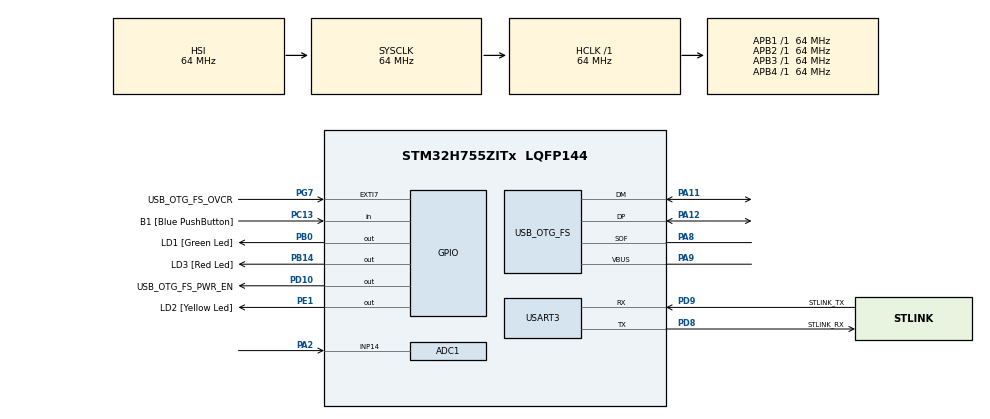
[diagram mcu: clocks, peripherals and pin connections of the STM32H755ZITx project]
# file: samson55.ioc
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ADC1.Channel-0\#ChannelRegularConversion=ADC_CHANNEL_14
ADC1.ContinuousConvMode=ENABLE
ADC1.NbrOfConversionFlag=1
ADC1.OffsetNumber-0\#ChannelRegularConversion=ADC_OFFSET_NONE
ADC1.OffsetSignedSaturation-0\#ChannelRegularConversion=DISABLE
ADC1.Rank-0\#ChannelRegularConversion=1
ADC1.SamplingTime-0\#ChannelRegularConversion=ADC_SAMPLETIME_387CYCLES_5
ADC1.master=1
CortexM4.IPs=FATFS_M4\:I,FREERTOS_M4\:I,IWDG2\:I,RCC,WWDG2\:I,DMA,BDMA,MDMA,NVIC2\:I,DEBUG,USB_DEVICE_M4\:I,USB_HOST_M4\:I,PDM2PCM_M4\:I,PWR,RESMGR_UTILITY,SYS_M4\:I,CORTEX_M4\:I,OPENAMP_M4\:I,VREFBUF
CortexM7.IPs=FATFS_M7\:I,FREERTOS_M7\:I,IWDG1\:I,RCC\:I,WWDG1\:I,DMA\:I,BDMA\:I,MDMA\:I,NVIC1\:I,USART3\:I,USB_OTG_FS\:I,SYS\:I,CORTEX_M7\:I,DEBUG\:I,USB_DEVICE_M7\:I,USB_HOST_M7\:I,PDM2PCM_M7\:I,PWR\:I,RESMGR_UTILITY\:I,OPENAMP_M7\:I,VREFBUF\:I,ADC1\:I
CortexM7.Pins=PB0
Mcu.Family=STM32H7
Mcu.Name=STM32H755ZITx
Mcu.Package=LQFP144
NVIC1.ADC_IRQn=true\:0\:0\:false\:false\:true\:true\:true
NVIC1.PriorityGroup=NVIC_PRIORITYGROUP_4
NVIC2.PriorityGroup=NVIC_PRIORITYGROUP_4
PA11.Mode=Device_Only
PA11.PinAttribute=CortexM7
PA11.Signal=USB_OTG_FS_DM
PA12.Mode=Device_Only
PA12.PinAttribute=CortexM7
PA12.Signal=USB_OTG_FS_DP
PA13\ (JTMS/SWDIO).Mode=Serial_Wire
PA13\ (JTMS/SWDIO).PinAttribute=CortexM7
PA13\ (JTMS/SWDIO).Signal=DEBUG_JTMS-SWDIO
PA14\ (JTCK/SWCLK).Mode=Serial_Wire
PA14\ (JTCK/SWCLK).PinAttribute=CortexM7
PA14\ (JTCK/SWCLK).Signal=DEBUG_JTCK-SWCLK
PA2.PinAttribute=CortexM7
PA2.Signal=ADCx_INP14
PA8.Mode=Activate_SOF_FS
PA8.PinAttribute=CortexM7
PA8.Signal=USB_OTG_FS_SOF
PA9.Mode=Activate_VBUS
PA9.PinAttribute=CortexM7
PA9.Signal=USB_OTG_FS_VBUS
PB0.GPIO_Label=LD1 [Green Led]
PB0.PinAttribute=CortexM7
PB0.Signal=GPIO_Output
PB14.GPIO_Label=LD3 [Red Led]
PB14.PinAttribute=Free
PB14.Signal=GPIO_Output
PC13.GPIO_Label=B1 [Blue PushButton]
PC13.PinAttribute=Free
PC13.Signal=GPIO_Input
PC14-OSC32_IN\ (OSC32_IN).Mode=LSE-External-Oscillator
PC14-OSC32_IN\ (OSC32_IN).PinAttribute=CortexM7
PC14-OSC32_IN\ (OSC32_IN).Signal=RCC_OSC32_IN
PC15-OSC32_OUT\ (OSC32_OUT).Mode=LSE-External-Oscillator
PC15-OSC32_OUT\ (OSC32_OUT).PinAttribute=CortexM7
PC15-OSC32_OUT\ (OSC32_OUT).Signal=RCC_OSC32_OUT
PD10.GPIO_Label=USB_OTG_FS_PWR_EN
PD10.PinAttribute=Free
PD10.Signal=GPIO_Output
PD8.GPIO_Label=STLINK_RX
PD8.Mode=Asynchronous
PD8.PinAttribute=CortexM7
PD8.Signal=USART3_TX
PD9.GPIO_Label=STLINK_TX
PD9.Mode=Asynchronous
PD9.PinAttribute=CortexM7
PD9.Signal=USART3_RX
PE1.GPIO_Label=LD2 [Yellow Led]
PE1.PinAttribute=Free
PE1.Signal=GPIO_Output
PG7.GPIO_Label=USB_OTG_FS_OVCR
PG7.PinAttribute=Free
PG7.Signal=GPXTI7
PH0-OSC_IN\ (PH0).Mode=HSE-External-Clock-Source
PH0-OSC_IN\ (PH0).PinAttribute=CortexM7
PH0-OSC_IN\ (PH0).Signal=RCC_OSC_IN
PH1-OSC_OUT\ (PH1).PinAttribute=CortexM7
PH1-OSC_OUT\ (PH1).Signal=RCC_OSC_OUT
ProjectManager.HeapSize=0x200
ProjectManager.StackSize=0x400
ProjectManager.TargetToolchain=STM32CubeIDE
RCC.ADCFreq_Value=50666666.666666664
RCC.APB1Freq_Value=64000000
RCC.APB2Freq_Value=64000000
RCC.APB3Freq_Value=64000000
RCC.APB4Freq_Value=64000000
RCC.CortexFreq_Value=64000000
RCC.DIVM1=1
RCC.DIVM2=1
RCC.DIVN1=24
RCC.DIVN2=19
RCC.DIVP2=3
RCC.DIVQ1=4
RCC.HCLKFreq_Value=64000000
RCC.HSE_VALUE=8000000
RCC.PLL2FRACN=0
RCC.PLL3FRACN=0
RCC.PLLFRACN=0
RCC.SYSCLKFreq_VALUE=64000000
RCC.SupplySource=PWR_DIRECT_SMPS_SUPPLY
RCC.USBFreq_Value=48000000
SH.ADCx_INP14.0=ADC1_INP14,IN14-Single-Ended
USART3.VirtualMode-Asynchronous=VM_ASYNC
USB_OTG_FS.VirtualMode=Device_Only
VP_SYS_M4_VS_Systick.Mode=SysTick
board=NUCLEO-H755ZI-Q

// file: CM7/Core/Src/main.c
/* USER CODE BEGIN Header */
/**
  ******************************************************************************
  * @file           : main.c
  * @brief          : Main program body
  ******************************************************************************
  * @attention
  *
  * <h2><center>&copy; Copyright (c) 2025 STMicroelectronics.
  * All rights reserved.</center></h2>
  *
  * This software component is licensed by ST under BSD 3-Clause license,
  * the "License"; You may not use this file except in compliance with the
  * License. You may obtain a copy of the License at:
  *                        opensource.org/licenses/BSD-3-Clause
  *
  ******************************************************************************
  */
/* USER CODE END Header */
#include "main.h"

/* USER CODE BEGIN Includes */
#include <stdio.h>

/* USER CODE END Includes */

/* USER CODE BEGIN PD */

#define HSEM_ID_0 (0U) /* HW semaphore 0*/
/* USER CODE END PD */

ADC_HandleTypeDef hadc1;

UART_HandleTypeDef huart3;

PCD_HandleTypeDef hpcd_USB_OTG_FS;

/* USER CODE BEGIN PV */
volatile uint32_t adc_value = 0;
volatile uint8_t adc_flag = 0;

/* USER CODE END PV */

void SystemClock_Config(void);
static void MX_GPIO_Init(void);
static void MX_USART3_UART_Init(void);
static void MX_USB_OTG_FS_PCD_Init(void);
static void MX_ADC1_Init(void);

/* USER CODE BEGIN 0 */
int _write(int file, char *ptr, int len) {
    HAL_UART_Transmit(&huart3 , ptr , len , 50);
    return len;
}

int __io_putchar(int ch)
{
	HAL_UART_Transmit(&huart3, (uint8_t*)&ch, 1, 1000);
	return ch;
}

//void HAL_ADC_ConvCpltCallback(ADC_HandleTypeDef* hadc){
//	printf("in ADC_ConvCpltCallback\n\r");
//    if(hadc->Instance == ADC1){
//    	printf("instance==ADC1\r\n");
//        adc_value = HAL_ADC_GetValue(hadc);
//        adc_flag = 1;
//    }
//}

void process_adc(void);
uint8_t calculate_crc8(uint8_t *data, uint8_t len);
uint16_t CRC16(const uint8_t *data, uint16_t length);
void send_adc_value(uint16_t value);

/* USER CODE END 0 */

int main(void)
{

/* USER CODE BEGIN Boot_Mode_Sequence_0 */
  int32_t timeout;
/* USER CODE END Boot_Mode_Sequence_0 */

/* USER CODE BEGIN Boot_Mode_Sequence_1 */
  /* Wait until CPU2 boots and enters in stop mode or timeout*/
  timeout = 0xFFFF;
  while((__HAL_RCC_GET_FLAG(RCC_FLAG_D2CKRDY) != RESET) && (timeout-- > 0));
  if ( timeout < 0 )
  {
  Error_Handler();
  }
/* USER CODE END Boot_Mode_Sequence_1 */
  /* MCU Configuration--------------------------------------------------------*/

  /* Reset of all peripherals, Initializes the Flash interface and the Systick. */
  HAL_Init();

  /* Configure the system clock */
  SystemClock_Config();
/* USER CODE BEGIN Boot_Mode_Sequence_2 */
/* When system initialization is finished, Cortex-M7 will release Cortex-M4 by means of
HSEM notification */
/*HW semaphore Clock enable*/
__HAL_RCC_HSEM_CLK_ENABLE();
/*Take HSEM */
HAL_HSEM_FastTake(HSEM_ID_0);
/*Release HSEM in order to notify the CPU2(CM4)*/
HAL_HSEM_Release(HSEM_ID_0,0);
/* wait until CPU2 wakes up from stop mode */
timeout = 0xFFFF;
while((__HAL_RCC_GET_FLAG(RCC_FLAG_D2CKRDY) == RESET) && (timeout-- > 0));
if ( timeout < 0 )
{
Error_Handler();
}
/* USER CODE END Boot_Mode_Sequence_2 */

  /* Initialize all configured peripherals */
  MX_GPIO_Init();
  MX_USART3_UART_Init();
  MX_USB_OTG_FS_PCD_Init();
  MX_ADC1_Init();
  /* USER CODE BEGIN 2 */
//  HAL_ADCEx_Calibration_Start(&hadc1, ADC_CALIB_OFFSET, ADC_SINGLE_ENDED);
//  HAL_Delay(1000);
//  if(HAL_ADC_Start_IT(&hadc1) != HAL_OK){
//	  printf("hal_adc_start_it NOTOK\n\r");
//  }
//  printf("in main\n\r");

//  HAL_ADC_Start(&hadc1);
  if (HAL_ADC_Start_IT(&hadc1) != HAL_OK) {
      Error_Handler();
  }

  /* USER CODE END 2 */

  /* Infinite loop */
  /* USER CODE BEGIN WHILE */
  while (1)
  {
	  HAL_GPIO_TogglePin(LD1_GPIO_Port, LD1_Pin);
	  if(adc_flag==1){
		  printf("Zmierzono: %ld\n\r", adc_value);
		  process_adc();
		  adc_flag=0;
//		  HAL_ADC_Start_IT(&hadc1);
	  }
	  HAL_Delay(1000);

//	  if (HAL_ADC_PollForConversion(&hadc1, HAL_MAX_DELAY) == HAL_OK) {
//		  uint16_t adc_value = HAL_ADC_GetValue(&hadc1);
//		  send_adc_value(adc_value);
////		  HAL_Delay(10);
//	  }

    /* USER CODE END WHILE */

  }
}

void SystemClock_Config(void)
{
  RCC_OscInitTypeDef RCC_OscInitStruct = {0};
  RCC_ClkInitTypeDef RCC_ClkInitStruct = {0};
  RCC_PeriphCLKInitTypeDef PeriphClkInitStruct = {0};

  /** Supply configuration update enable
  */
  HAL_PWREx_ConfigSupply(PWR_DIRECT_SMPS_SUPPLY);
  /** Configure the main internal regulator output voltage
  */
  __HAL_PWR_VOLTAGESCALING_CONFIG(PWR_REGULATOR_VOLTAGE_SCALE3);

  while(!__HAL_PWR_GET_FLAG(PWR_FLAG_VOSRDY)) {}
  /** Macro to configure the PLL clock source
  */
  __HAL_RCC_PLL_PLLSOURCE_CONFIG(RCC_PLLSOURCE_HSE);
  /** Initializes the RCC Oscillators according to the specified parameters
  * in the RCC_OscInitTypeDef structure.
  */
  RCC_OscInitStruct.OscillatorType = RCC_OSCILLATORTYPE_HSI|RCC_OSCILLATORTYPE_HSE;
  RCC_OscInitStruct.HSEState = RCC_HSE_BYPASS;
  RCC_OscInitStruct.HSIState = RCC_HSI_DIV1;
  RCC_OscInitStruct.HSICalibrationValue = RCC_HSICALIBRATION_DEFAULT;
  RCC_OscInitStruct.PLL.PLLState = RCC_PLL_ON;
  RCC_OscInitStruct.PLL.PLLSource = RCC_PLLSOURCE_HSE;
  RCC_OscInitStruct.PLL.PLLM = 1;
  RCC_OscInitStruct.PLL.PLLN = 24;
  RCC_OscInitStruct.PLL.PLLP = 2;
  RCC_OscInitStruct.PLL.PLLQ = 4;
  RCC_OscInitStruct.PLL.PLLR = 2;
  RCC_OscInitStruct.PLL.PLLRGE = RCC_PLL1VCIRANGE_3;
  RCC_OscInitStruct.PLL.PLLVCOSEL = RCC_PLL1VCOWIDE;
  RCC_OscInitStruct.PLL.PLLFRACN = 0;
  if (HAL_RCC_OscConfig(&RCC_OscInitStruct) != HAL_OK)
  {
    Error_Handler();
  }
  /** Initializes the CPU, AHB and APB buses clocks
  */
  RCC_ClkInitStruct.ClockType = RCC_CLOCKTYPE_HCLK|RCC_CLOCKTYPE_SYSCLK
                              |RCC_CLOCKTYPE_PCLK1|RCC_CLOCKTYPE_PCLK2
                              |RCC_CLOCKTYPE_D3PCLK1|RCC_CLOCKTYPE_D1PCLK1;
  RCC_ClkInitStruct.SYSCLKSource = RCC_SYSCLKSOURCE_HSI;
  RCC_ClkInitStruct.SYSCLKDivider = RCC_SYSCLK_DIV1;
  RCC_ClkInitStruct.AHBCLKDivider = RCC_HCLK_DIV1;
  RCC_ClkInitStruct.APB3CLKDivider = RCC_APB3_DIV1;
  RCC_ClkInitStruct.APB1CLKDivider = RCC_APB1_DIV1;
  RCC_ClkInitStruct.APB2CLKDivider = RCC_APB2_DIV1;
  RCC_ClkInitStruct.APB4CLKDivider = RCC_APB4_DIV1;

  if (HAL_RCC_ClockConfig(&RCC_ClkInitStruct, FLASH_LATENCY_0) != HAL_OK)
  {
    Error_Handler();
  }
  PeriphClkInitStruct.PeriphClockSelection = RCC_PERIPHCLK_USART3|RCC_PERIPHCLK_ADC
                              |RCC_PERIPHCLK_USB;
  PeriphClkInitStruct.PLL2.PLL2M = 1;
  PeriphClkInitStruct.PLL2.PLL2N = 19;
  PeriphClkInitStruct.PLL2.PLL2P = 3;
  PeriphClkInitStruct.PLL2.PLL2Q = 2;
  PeriphClkInitStruct.PLL2.PLL2R = 2;
  PeriphClkInitStruct.PLL2.PLL2RGE = RCC_PLL2VCIRANGE_3;
  PeriphClkInitStruct.PLL2.PLL2VCOSEL = RCC_PLL2VCOMEDIUM;
  PeriphClkInitStruct.PLL2.PLL2FRACN = 0;
  PeriphClkInitStruct.Usart234578ClockSelection = RCC_USART234578CLKSOURCE_D2PCLK1;
  PeriphClkInitStruct.UsbClockSelection = RCC_USBCLKSOURCE_PLL;
  PeriphClkInitStruct.AdcClockSelection = RCC_ADCCLKSOURCE_PLL2;
  if (HAL_RCCEx_PeriphCLKConfig(&PeriphClkInitStruct) != HAL_OK)
  {
    Error_Handler();
  }
  /** Enable USB Voltage detector
  */
  HAL_PWREx_EnableUSBVoltageDetector();
}

static void MX_ADC1_Init(void)
{

  ADC_MultiModeTypeDef multimode = {0};
  ADC_ChannelConfTypeDef sConfig = {0};

  /** Common config
  */
  hadc1.Instance = ADC1;
  hadc1.Init.ClockPrescaler = ADC_CLOCK_ASYNC_DIV1;
  hadc1.Init.Resolution = ADC_RESOLUTION_16B;
  hadc1.Init.ScanConvMode = ADC_SCAN_DISABLE;
  hadc1.Init.EOCSelection = ADC_EOC_SINGLE_CONV;
  hadc1.Init.LowPowerAutoWait = DISABLE;
  hadc1.Init.ContinuousConvMode = ENABLE;
  hadc1.Init.NbrOfConversion = 1;
  hadc1.Init.DiscontinuousConvMode = DISABLE;
  hadc1.Init.ExternalTrigConv = ADC_SOFTWARE_START;
  hadc1.Init.ExternalTrigConvEdge = ADC_EXTERNALTRIGCONVEDGE_NONE;
  hadc1.Init.ConversionDataManagement = ADC_CONVERSIONDATA_DR;
  hadc1.Init.Overrun = ADC_OVR_DATA_PRESERVED;
  hadc1.Init.LeftBitShift = ADC_LEFTBITSHIFT_NONE;
  hadc1.Init.OversamplingMode = DISABLE;
  if (HAL_ADC_Init(&hadc1) != HAL_OK)
  {
    Error_Handler();
  }
  /** Configure the ADC multi-mode
  */
  multimode.Mode = ADC_MODE_INDEPENDENT;
  if (HAL_ADCEx_MultiModeConfigChannel(&hadc1, &multimode) != HAL_OK)
  {
    Error_Handler();
  }
  /** Configure Regular Channel
  */
  sConfig.Channel = ADC_CHANNEL_14;
  sConfig.Rank = ADC_REGULAR_RANK_1;
  sConfig.SamplingTime = ADC_SAMPLETIME_387CYCLES_5;
  sConfig.SingleDiff = ADC_SINGLE_ENDED;
  sConfig.OffsetNumber = ADC_OFFSET_NONE;
  sConfig.Offset = 0;
  sConfig.OffsetSignedSaturation = DISABLE;
  if (HAL_ADC_ConfigChannel(&hadc1, &sConfig) != HAL_OK)
  {
    Error_Handler();
  }

}

static void MX_USART3_UART_Init(void)
{

  huart3.Instance = USART3;
  huart3.Init.BaudRate = 115200;
  huart3.Init.WordLength = UART_WORDLENGTH_8B;
  huart3.Init.StopBits = UART_STOPBITS_1;
  huart3.Init.Parity = UART_PARITY_NONE;
  huart3.Init.Mode = UART_MODE_TX_RX;
  huart3.Init.HwFlowCtl = UART_HWCONTROL_NONE;
  huart3.Init.OverSampling = UART_OVERSAMPLING_16;
  huart3.Init.OneBitSampling = UART_ONE_BIT_SAMPLE_DISABLE;
  huart3.Init.ClockPrescaler = UART_PRESCALER_DIV1;
  huart3.AdvancedInit.AdvFeatureInit = UART_ADVFEATURE_NO_INIT;
  if (HAL_UART_Init(&huart3) != HAL_OK)
  {
    Error_Handler();
  }
  if (HAL_UARTEx_SetTxFifoThreshold(&huart3, UART_TXFIFO_THRESHOLD_1_8) != HAL_OK)
  {
    Error_Handler();
  }
  if (HAL_UARTEx_SetRxFifoThreshold(&huart3, UART_RXFIFO_THRESHOLD_1_8) != HAL_OK)
  {
    Error_Handler();
  }
  if (HAL_UARTEx_DisableFifoMode(&huart3) != HAL_OK)
  {
    Error_Handler();
  }

}

static void MX_USB_OTG_FS_PCD_Init(void)
{

  hpcd_USB_OTG_FS.Instance = USB_OTG_FS;
  hpcd_USB_OTG_FS.Init.dev_endpoints = 9;
  hpcd_USB_OTG_FS.Init.speed = PCD_SPEED_FULL;
  hpcd_USB_OTG_FS.Init.dma_enable = DISABLE;
  hpcd_USB_OTG_FS.Init.phy_itface = PCD_PHY_EMBEDDED;
  hpcd_USB_OTG_FS.Init.Sof_enable = DISABLE;
  hpcd_USB_OTG_FS.Init.low_power_enable = DISABLE;
  hpcd_USB_OTG_FS.Init.lpm_enable = DISABLE;
  hpcd_USB_OTG_FS.Init.battery_charging_enable = ENABLE;
  hpcd_USB_OTG_FS.Init.vbus_sensing_enable = ENABLE;
  hpcd_USB_OTG_FS.Init.use_dedicated_ep1 = DISABLE;
  if (HAL_PCD_Init(&hpcd_USB_OTG_FS) != HAL_OK)
  {
    Error_Handler();
  }

}

static void MX_GPIO_Init(void)
{
  GPIO_InitTypeDef GPIO_InitStruct = {0};

  /* GPIO Ports Clock Enable */
  __HAL_RCC_GPIOC_CLK_ENABLE();
  __HAL_RCC_GPIOH_CLK_ENABLE();
  __HAL_RCC_GPIOA_CLK_ENABLE();
  __HAL_RCC_GPIOB_CLK_ENABLE();
  __HAL_RCC_GPIOD_CLK_ENABLE();

  /*Configure GPIO pin Output Level */
  HAL_GPIO_WritePin(LD1_GPIO_Port, LD1_Pin, GPIO_PIN_RESET);

  /*Configure GPIO pin : LD1_Pin */
  GPIO_InitStruct.Pin = LD1_Pin;
  GPIO_InitStruct.Mode = GPIO_MODE_OUTPUT_PP;
  GPIO_InitStruct.Pull = GPIO_NOPULL;
  GPIO_InitStruct.Speed = GPIO_SPEED_FREQ_LOW;
  HAL_GPIO_Init(LD1_GPIO_Port, &GPIO_InitStruct);

}

/* USER CODE BEGIN 4 */
void HAL_ADC_ConvCpltCallback(ADC_HandleTypeDef* hadc) {
  if (hadc->Instance == ADC1) {
    adc_value = HAL_ADC_GetValue(hadc);
    adc_flag = 1;
  }
}

void process_adc(void) {
    send_adc_value(adc_value);
}

void send_adc_value(uint16_t value) {
    uint8_t frame[5];
    frame[0] = 0xAA;
    frame[1] = (value >> 8) & 0xFF;
    frame[2] = value & 0xFF;
    uint16_t crc = CRC16(&frame[1], 2);
    frame[3] = crc & 0xFF;
    frame[4] = (crc >> 8) & 0xFF;
    HAL_UART_Transmit(&huart3, frame, 5, HAL_MAX_DELAY);
}

uint8_t calculate_crc8(uint8_t *data, uint8_t len) {
    uint8_t crc = 0x00;
    for (uint8_t i = 0; i < len; i++) {
        crc ^= data[i];
        for (uint8_t j = 0; j < 8; j++)
            crc = (crc & 0x80) ? (crc << 1) ^ 0x07 : (crc << 1);
    }
    return crc;
}

uint16_t CRC16(const uint8_t *data, uint16_t length) {
    uint16_t crc = 0xFFFF;
    for (uint16_t i = 0; i < length; i++) {
        crc ^= data[i];
        for (uint8_t j = 0; j < 8; j++) {
            if (crc & 0x0001) {
                crc >>= 1;
                crc ^= 0xA001;
            } else {
                crc >>= 1;
            }
        }
    }
    return crc;
}

/* USER CODE END 4 */

void Error_Handler(void)
{
}

/************************ (C) COPYRIGHT STMicroelectronics *****END OF FILE****/
